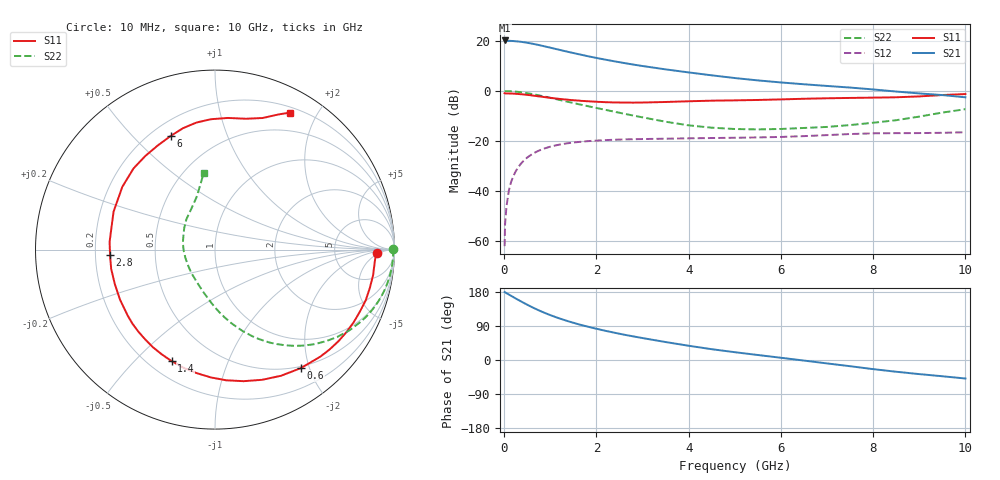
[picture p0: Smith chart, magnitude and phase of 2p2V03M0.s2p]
! (c) 2009  Infineon Technologies AG, Munich
! Infineon Technologies  Discrete & RF Semiconductors
! BFP420
! VCE =  2.0 V,  IC =  3.0 mA
! Common Emitter S-Parameters:  Nov 2009
# GHz  S  MA  R  50
!  f  S11  S21  S12  S22
! GHz  MAG  ANG  MAG  ANG  MAG  ANG  MAG  ANG
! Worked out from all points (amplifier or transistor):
!   46 points, 10 MHz to 10 GHz, reference 50 ohm
!   highest |S21| = 20.2 dB at 10 MHz (marker M1)
!   |S21| within 3 dB of that: start of sweep to 1.028 GHz
!   unconditionally stable (mu >= 1): 3.52 GHz to end of sweep
!   at 300 MHz: K = 0.06, MSG = 25.2 dB, |S12| = -30.6 dB
!   at 1.7 GHz: K = 0.44, MSG = 17.3 dB, |S12| = -20.2 dB
!   at 10 GHz: K = 1.17, MAG = 4.5 dB, |S12| = -16.5 dB
!   lowest NFmin = 0.57 dB at 900 MHz
!   S11 on the Smith chart (normalised r, x): 10 MHz: 19, -4; 600 MHz: 0.47, -1.87; 1.4 GHz: 0.29, -0.64; 2.8 GHz: 0.26, -0.02; 6 GHz: 0.28, +0.65; 10 GHz: 0.26, +1.65
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0.01  0.902 -1.3  10.2 179.2  0.0008 112.8  0.9909 0.1
0.02  0.8966 -1.9  9.945 178.8  0.0022 86.1  0.9927 -1.1
0.05  0.8928 -4.3  9.989 176.4  0.0049 88.4  0.9927 -2.7
0.15  0.8887 -13.9  9.986 169.4  0.0152 82.3  0.9855 -8.3
0.25  0.8783 -23.1  9.814 162.3  0.0249 77.4  0.9705 -13.7
0.4  0.8564 -36.6  9.481 152.4  0.0386 70.0  0.9352 -21.5
0.6  0.8155 -54.0  8.829 139.7  0.0545 60.8  0.8729 -31.1
0.7  0.7936 -62.3  8.464 133.9  0.0613 56.6  0.8376 -35.5
0.9  0.7503 -77.7  7.693 123.3  0.0726 49.3  0.7661 -43.4
1.2  0.6952 -98.7  6.626 109.6  0.0852 40.2  0.6637 -53.5
1.4  0.6664 -111.3  6.001 101.8  0.0911 35.2  0.6035 -59.3
1.7  0.6331 -128.2  5.221 91.5  0.0978 29.1  0.5244 -66.8
1.9  0.6174 -138.4  4.77 85.3  0.1011 25.6  0.4789 -71.3
2.2  0.5983 -152.3  4.213 76.9  0.1047 21.1  0.4198 -77.5
2.8  0.5856 -177.2  3.367 62.3  0.109 14.1  0.3233 -89.8
3.5  0.6034 159.5  2.701 47.4  0.1117 8.2  0.2436 -105.9
4.5  0.6408 135.1  2.054 28.5  0.1151 2.5  0.1852 -135.3
5.5  0.662 118.8  1.627 13.2  0.1184 -1.3  0.1711 -164.0
6  0.6795 111.3  1.481 5.9  0.1211 -2.6  0.1747 -178.6
7  0.7154 98.3  1.261 -9.0  0.1317 -6.3  0.1918 156.7
8.5  0.7491 76.7  0.975 -31.0  0.144 -17.0  0.2614 120.6
10  0.8693 61.4  0.749 -48.8  0.15 -23.8  0.433 98.3
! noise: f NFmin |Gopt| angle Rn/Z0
0.9  0.57  0.35  33  0.18
1.8  1.02  0.2  79  0.14
2.4  1.1  0.23  104  0.14
3  1.25  0.24  144  0.11
4  1.46  0.33  -159  0.1
5  1.9  0.39  -128  0.22
6  2.46  0.48  -107  0.35
